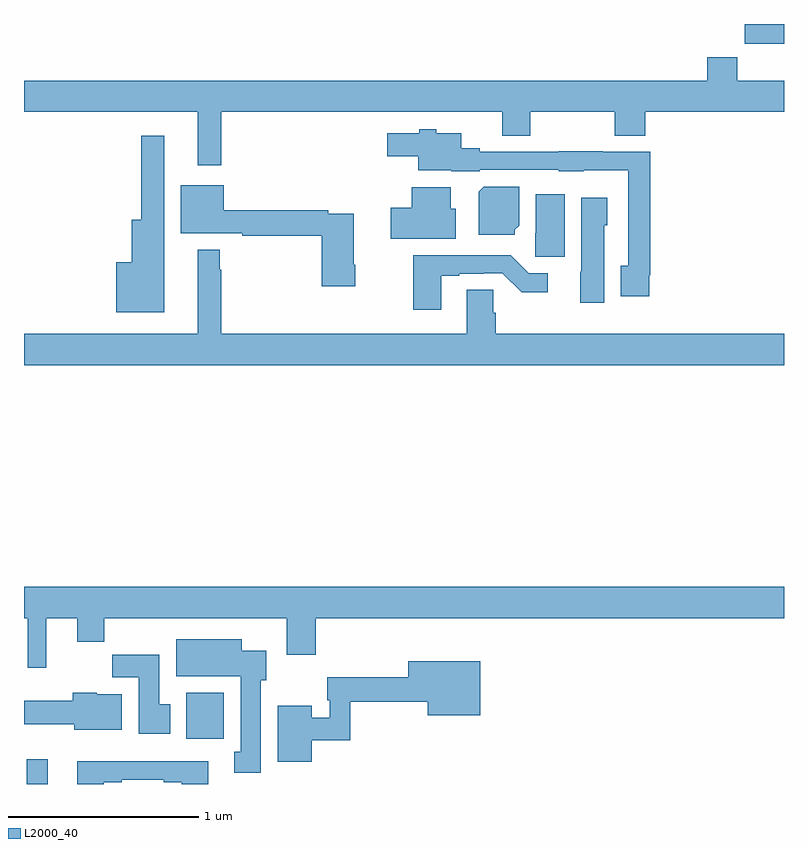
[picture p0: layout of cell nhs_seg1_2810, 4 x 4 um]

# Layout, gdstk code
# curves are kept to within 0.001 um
import gdstk
lib = gdstk.Library(unit=1e-6, precision=1e-09)
def R(c, l, rs):  # rectangles x0, y0, x1, y1
    for r in rs: c.add(gdstk.rectangle(r[:2], r[2:], *l))
def P(c, l, *ps):  # polygons
    for p in ps: c.add(gdstk.Polygon(p, *l))
L2000_40 = (2000, 40)

nhs_seg1_2810 = lib.new_cell('nhs_seg1_2810')
R(nhs_seg1_2810, L2000_40, [(263.015,544.199,263.125,544.33), (263.855,544.436,264.052,544.678), (266.794,548.094,267,548.199)])
P(nhs_seg1_2810, L2000_40, [(264.037,547.736),(265.517,547.736),(265.517,547.612),(265.665,547.612),(265.665,547.736),(266.11,547.736),(266.11,547.612),(266.27,547.612),(266.27,547.736),(267,547.736),(267,547.9),(266.753,547.9),(266.753,548.024),(266.597,548.024),(266.597,547.9),(263,547.9),(263,547.736),(263.915,547.736),(263.915,547.455),(264.037,547.455)],
  [(266.29,546.877),(266.297,546.877),(266.297,547.527),(266.047,547.527),(266.047,547.529),(265.815,547.529),(265.815,547.527),(265.398,547.527),(265.398,547.546),(265.3,547.546),(265.3,547.624),(265.17,547.624),(265.17,547.645),(265.08,547.645),(265.08,547.624),(264.912,547.624),(264.912,547.502),(265.076,547.502),(265.076,547.43),(265.248,547.43),(265.248,547.424),(265.398,547.424),(265.398,547.431),(265.815,547.431),(265.815,547.424),(265.947,547.424),(265.947,547.43),(266.181,547.43),(266.181,546.926),(266.141,546.926),(266.141,546.765),(266.29,546.765)],
  [(263.737,547.612),(263.616,547.612),(263.616,547.168),(263.567,547.168),(263.567,546.946),(263.486,546.946),(263.486,546.683),(263.737,546.683)],
  [(264.744,546.931),(264.736,546.931),(264.736,547.2),(264.602,547.2),(264.602,547.22),(264.052,547.22),(264.052,547.351),(263.825,547.351),(263.825,547.097),(264.148,547.097),(264.148,547.084),(264.566,547.084),(264.566,546.819),(264.744,546.819)],
  [(265.584,547.116),(265.606,547.138),(265.606,547.342),(265.42,547.342),(265.394,547.316),(265.394,547.091),(265.584,547.091)],
  [(265.273,547.227),(265.246,547.227),(265.246,547.34),(265.04,547.34),(265.04,547.231),(264.929,547.231),(264.929,547.07),(265.273,547.07)],
  [(265.846,547.303),(265.694,547.303),(265.694,547.098),(265.69,547.098),(265.69,546.975),(265.846,546.975)],
  [(266.053,547.14),(266.071,547.14),(266.071,547.285),(265.934,547.285),(265.934,546.894),(265.928,546.894),(265.928,546.732),(266.053,546.732)],
  [(267,546.568),(265.484,546.568),(265.484,546.678),(265.47,546.678),(265.47,546.8),(265.331,546.8),(265.331,546.568),(264.037,546.568),(264.037,546.905),(264.03,546.905),(264.03,547.012),(263.915,547.012),(263.915,546.568),(263,546.568),(263,546.404),(267,546.404)],
  [(265.195,546.873),(265.291,546.873),(265.291,546.885),(265.418,546.885),(265.418,546.888),(265.518,546.888),(265.621,546.786),(265.756,546.786),(265.756,546.888),(265.656,546.888),(265.562,546.982),(265.048,546.981),(265.048,546.696),(265.195,546.696)],
  [(263.116,545.072),(263.279,545.072),(263.279,544.948),(263.423,544.948),(263.423,545.072),(264.383,545.072),(264.383,544.878),(264.536,544.878),(264.536,545.072),(267,545.072),(267,545.236),(263,545.236),(263,545.072),(263.019,545.072),(263.019,544.812),(263.116,544.812)],
  [(264.247,544.746),(264.274,544.746),(264.274,544.9),(264.145,544.9),(264.145,544.96),(263.801,544.96),(263.801,544.766),(264.14,544.766),(264.14,544.37),(264.107,544.37),(264.107,544.257),(264.247,544.257)],
  [(263.77,544.62),(263.713,544.62),(263.713,544.878),(263.464,544.878),(263.464,544.76),(263.603,544.76),(263.603,544.464),(263.77,544.464)],
  [(264.514,544.428),(264.718,544.428),(264.718,544.633),(265.124,544.633),(265.124,544.562),(265.402,544.562),(265.402,544.846),(265.022,544.846),(265.022,544.762),(264.597,544.762),(264.597,544.64),(264.609,544.64),(264.609,544.549),(264.514,544.549),(264.514,544.612),(264.335,544.612),(264.335,544.316),(264.514,544.316)],
  [(263.515,544.672),(263.382,544.672),(263.382,544.678),(263.257,544.678),(263.257,544.636),(263,544.636),(263,544.514),(263.264,544.514),(263.264,544.484),(263.515,544.484)],
  [(263.419,544.209),(263.515,544.209),(263.515,544.221),(263.735,544.221),(263.735,544.209),(263.831,544.209),(263.831,544.199),(263.971,544.199),(263.971,544.318),(263.279,544.318),(263.279,544.199),(263.419,544.199)])

lib.write_gds('nhs_seg1_2810.gds')
